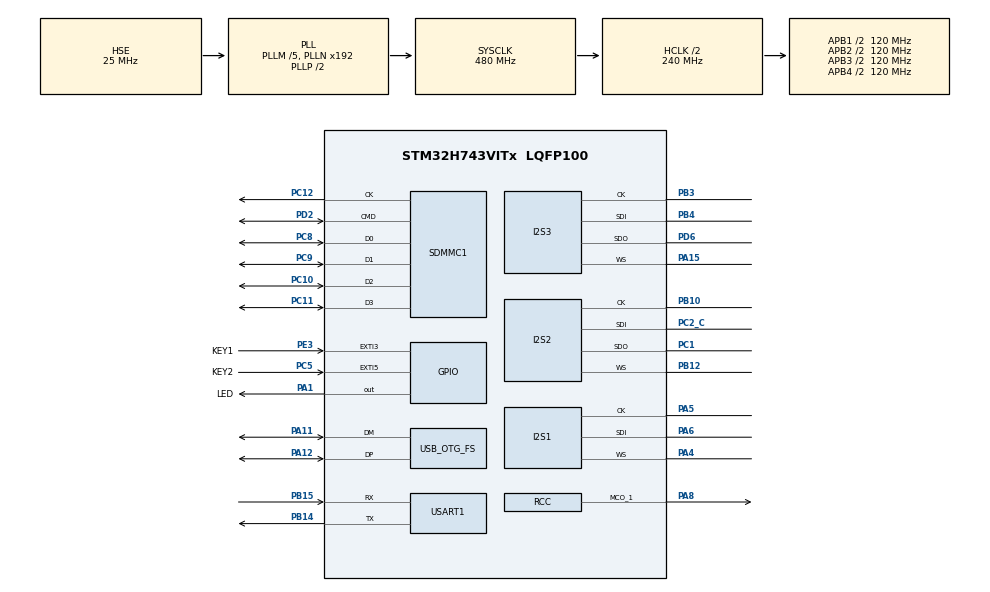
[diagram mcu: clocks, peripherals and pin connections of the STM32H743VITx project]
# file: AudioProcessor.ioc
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CORTEX_M7.default_mode_Activation=1
Dma.Request0=SPI1_RX
Dma.SPI1_RX.0.Direction=DMA_PERIPH_TO_MEMORY
Dma.SPI1_RX.0.EventEnable=DISABLE
Dma.SPI1_RX.0.FIFOMode=DMA_FIFOMODE_DISABLE
Dma.SPI1_RX.0.Instance=DMA1_Stream0
Dma.SPI1_RX.0.MemDataAlignment=DMA_MDATAALIGN_WORD
Dma.SPI1_RX.0.MemInc=DMA_MINC_ENABLE
Dma.SPI1_RX.0.Mode=DMA_CIRCULAR
Dma.SPI1_RX.0.PeriphDataAlignment=DMA_PDATAALIGN_WORD
Dma.SPI1_RX.0.PeriphInc=DMA_PINC_DISABLE
Dma.SPI1_RX.0.Polarity=HAL_DMAMUX_REQ_GEN_RISING
Dma.SPI1_RX.0.Priority=DMA_PRIORITY_VERY_HIGH
Dma.SPI1_RX.0.RequestNumber=1
Dma.SPI1_RX.0.SignalID=NONE
Dma.SPI1_RX.0.SyncEnable=DISABLE
Dma.SPI1_RX.0.SyncPolarity=HAL_DMAMUX_SYNC_NO_EVENT
Dma.SPI1_RX.0.SyncRequestNumber=1
Dma.SPI1_RX.0.SyncSignalID=NONE
FATFS._CODE_PAGE=936
FATFS._FS_EXFAT=1
FATFS._USE_LFN=3
I2S1.AudioFreq=I2S_AUDIOFREQ_16K
I2S1.DataFormat=I2S_DATAFORMAT_24B
I2S1.ErrorAudioFreq=-0.79 %
I2S1.Instance=SPI$Index
I2S1.RealAudioFreq=15.873 KHz
I2S2.AudioFreq=I2S_AUDIOFREQ_48K
I2S2.DataFormat=I2S_DATAFORMAT_24B
I2S2.ErrorAudioFreq=-0.79 %
I2S2.Instance=SPI$Index
I2S2.RealAudioFreq=47.619 KHz
I2S3.AudioFreq=I2S_AUDIOFREQ_48K
I2S3.DataFormat=I2S_DATAFORMAT_24B
I2S3.ErrorAudioFreq=-0.79 %
I2S3.Instance=SPI$Index
I2S3.RealAudioFreq=47.619 KHz
Mcu.Family=STM32H7
Mcu.Name=STM32H743VITx
Mcu.Package=LQFP100
NVIC.DMA1_Stream0_IRQn=true\:0\:0\:false\:false\:true\:false\:true\:true
NVIC.OTG_FS_IRQn=true\:0\:0\:false\:false\:true\:false\:true\:true
NVIC.PriorityGroup=NVIC_PRIORITYGROUP_4
NVIC.SPI1_IRQn=true\:0\:0\:false\:false\:true\:true\:true\:true
NVIC.USART1_IRQn=true\:0\:0\:false\:false\:true\:true\:true\:true
PA1.GPIO_Label=LED
PA1.PinState=GPIO_PIN_SET
PA1.Signal=GPIO_Output
PA11.GPIO_Speed=GPIO_SPEED_FREQ_HIGH
PA11.Mode=Device_Only
PA11.Signal=USB_OTG_FS_DM
PA12.GPIO_Speed=GPIO_SPEED_FREQ_HIGH
PA12.Mode=Device_Only
PA12.Signal=USB_OTG_FS_DP
PA13\ (JTMS/SWDIO).Mode=Serial_Wire
PA13\ (JTMS/SWDIO).Signal=DEBUG_JTMS-SWDIO
PA14\ (JTCK/SWCLK).Mode=Serial_Wire
PA14\ (JTCK/SWCLK).Signal=DEBUG_JTCK-SWCLK
PA15\ (JTDI).Mode=Full_Duplex_Master
PA15\ (JTDI).Signal=I2S3_WS
PA4.GPIO_Speed=GPIO_SPEED_FREQ_HIGH
PA4.Mode=Half_Duplex_Master_Rx
PA4.Signal=I2S1_WS
PA5.GPIO_Speed=GPIO_SPEED_FREQ_HIGH
PA5.Mode=Half_Duplex_Master_Rx
PA5.Signal=I2S1_CK
PA6.GPIO_PuPd=GPIO_PULLDOWN
PA6.GPIO_Speed=GPIO_SPEED_FREQ_HIGH
PA6.Mode=Half_Duplex_Master_Rx
PA6.Signal=I2S1_SDI
PA8.Mode=Clock-out-1
PA8.Signal=RCC_MCO_1
PB10.GPIO_Speed=GPIO_SPEED_FREQ_HIGH
PB10.Mode=Full_Duplex_Master
PB10.Signal=I2S2_CK
PB12.GPIO_Speed=GPIO_SPEED_FREQ_HIGH
PB12.Mode=Full_Duplex_Master
PB12.Signal=I2S2_WS
PB14.GPIO_Speed=GPIO_SPEED_FREQ_MEDIUM
PB14.Mode=Asynchronous
PB14.Signal=USART1_TX
PB15.GPIO_Speed=GPIO_SPEED_FREQ_MEDIUM
PB15.Mode=Asynchronous
PB15.Signal=USART1_RX
PB3\ (JTDO/TRACESWO).Mode=Full_Duplex_Master
PB3\ (JTDO/TRACESWO).Signal=I2S3_CK
PB4\ (NJTRST).Mode=Full_Duplex_Master
PB4\ (NJTRST).Signal=I2S3_SDI
PC1.GPIO_Speed=GPIO_SPEED_FREQ_HIGH
PC1.Mode=Full_Duplex_Master
PC1.Signal=I2S2_SDO
PC10.Mode=SD_4_bits_Wide_bus
PC10.Signal=SDMMC1_D2
PC11.Mode=SD_4_bits_Wide_bus
PC11.Signal=SDMMC1_D3
PC12.Mode=SD_4_bits_Wide_bus
PC12.Signal=SDMMC1_CK
PC14-OSC32_IN\ (OSC32_IN).Mode=LSE-External-Oscillator
PC14-OSC32_IN\ (OSC32_IN).Signal=RCC_OSC32_IN
PC15-OSC32_OUT\ (OSC32_OUT).Mode=LSE-External-Oscillator
PC15-OSC32_OUT\ (OSC32_OUT).Signal=RCC_OSC32_OUT
PC2_C.GPIO_Speed=GPIO_SPEED_FREQ_HIGH
PC2_C.Mode=Full_Duplex_Master
PC2_C.Signal=I2S2_SDI
PC5.GPIO_Label=KEY2
PC5.GPIO_ModeDefaultEXTI=GPIO_MODE_IT_FALLING
PC5.GPIO_PuPd=GPIO_PULLUP
PC5.Signal=GPXTI5
PC8.Mode=SD_4_bits_Wide_bus
PC8.Signal=SDMMC1_D0
PC9.Mode=SD_4_bits_Wide_bus
PC9.Signal=SDMMC1_D1
PD2.Mode=SD_4_bits_Wide_bus
PD2.Signal=SDMMC1_CMD
PD6.Mode=Full_Duplex_Master
PD6.Signal=I2S3_SDO
PE3.GPIO_Label=KEY1
PE3.GPIO_ModeDefaultEXTI=GPIO_MODE_IT_FALLING
PE3.GPIO_PuPd=GPIO_PULLUP
PE3.Signal=GPXTI3
PH0-OSC_IN\ (PH0).Mode=HSE-External-Oscillator
PH0-OSC_IN\ (PH0).Signal=RCC_OSC_IN
PH1-OSC_OUT\ (PH1).Mode=HSE-External-Oscillator
PH1-OSC_OUT\ (PH1).Signal=RCC_OSC_OUT
ProjectManager.HeapSize=0x1000
ProjectManager.StackSize=0x1000
ProjectManager.TargetToolchain=MDK-ARM V5.32
RCC.ADCFreq_Value=480000000
RCC.APB1Freq_Value=120000000
RCC.APB2Freq_Value=120000000
RCC.APB3Freq_Value=120000000
RCC.APB4Freq_Value=120000000
RCC.CortexFreq_Value=480000000
RCC.D1PPRE=RCC_APB3_DIV2
RCC.D2PPRE1=RCC_APB1_DIV2
RCC.D2PPRE2=RCC_APB2_DIV2
RCC.D3PPRE=RCC_APB4_DIV2
RCC.DIVM1=5
RCC.DIVM2=5
RCC.DIVN1=192
RCC.DIVN2=192
RCC.DIVQ1=60
RCC.DIVR2=20
RCC.HCLKFreq_Value=240000000
RCC.HPRE=RCC_HCLK_DIV2
RCC.PLL2FRACN=0
RCC.PLL3FRACN=0
RCC.PLLFRACN=0
RCC.PLLSourceVirtual=RCC_PLLSOURCE_HSE
RCC.RCC_MCO1Source=RCC_MCO1SOURCE_PLL1QCLK
RCC.RCC_MCODiv1=RCC_MCODIV_8
RCC.SDMMC1CLockSelection=RCC_SDMMCCLKSOURCE_PLL2
RCC.SPI123CLockSelection=RCC_SPI123CLKSOURCE_CLKP
RCC.SYSCLKFreq_VALUE=480000000
RCC.SYSCLKSource=RCC_SYSCLKSOURCE_PLLCLK
RCC.USBCLockSelection=RCC_USBCLKSOURCE_HSI48
RCC.USBFreq_Value=48000000
SDMMC1.ClockDiv=4
USART1.VirtualMode-Asynchronous=VM_ASYNC
USB_DEVICE.CLASS_NAME_FS=CDC
USB_DEVICE.MANUFACTURER_STRING-CDC_FS=Skyler
USB_DEVICE.PRODUCT_STRING_CDC_FS=DebugSerial
USB_DEVICE.VirtualMode-CDC_FS=Cdc
USB_DEVICE.VirtualModeFS=Cdc_FS
USB_OTG_FS.VirtualMode=Device_Only
VP_FATFS_VS_SDIO.Mode=SDIO
VP_MEMORYMAP_VS_MEMORYMAP.Mode=CurAppReg
VP_USB_DEVICE_VS_USB_DEVICE_CDC_FS.Mode=CDC_FS
board=custom

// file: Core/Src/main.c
/* USER CODE BEGIN Header */
/**
  ******************************************************************************
  * @file           : main.c
  * @brief          : Main program body
  ******************************************************************************
  * @attention
  *
  * Copyright (c) 2024 STMicroelectronics.
  * All rights reserved.
  *
  * This software is licensed under terms that can be found in the LICENSE file
  * in the root directory of this software component.
  * If no LICENSE file comes with this software, it is provided AS-IS.
  *
  ******************************************************************************
  */
/* USER CODE END Header */
#include "main.h"
#include "dma.h"
#include "fatfs.h"
#include "i2s.h"
#include "memorymap.h"
#include "sdmmc.h"
#include "usart.h"
#include "usb_device.h"
#include "gpio.h"

/* USER CODE BEGIN Includes */
#include "arm_math.h"
#include "TLV320AIC.h"
#include "uart_screen.h"
#include "usb_debug.h"
#include "mic.h"
#include "wav_file.h"
#include "audio_process.h"
/* USER CODE END Includes */

/* USER CODE BEGIN PV */
uint32_t counter = 0;
float disRec[600] = {0};
/* USER CODE END PV */

void SystemClock_Config(void);
static void MPU_Config(void);

int main(void)
{

  /* MPU Configuration--------------------------------------------------------*/
  MPU_Config();

  /* MCU Configuration--------------------------------------------------------*/

  /* Reset of all peripherals, Initializes the Flash interface and the Systick. */
  HAL_Init();

  /* Configure the system clock */
  SystemClock_Config();

  /* Initialize all configured peripherals */
  MX_GPIO_Init();
  MX_DMA_Init();
  MX_I2S1_Init();
  MX_I2S2_Init();
  MX_USB_DEVICE_Init();
  MX_USART1_UART_Init();
  MX_I2S3_Init();
  MX_SDMMC1_SD_Init();
  MX_FATFS_Init();
  /* USER CODE BEGIN 2 */
  HAL_Delay(5000);
  File_Init();
  File_Wav_Create(&wavFile, 1240);
//  USB_Send_Command("FatFS init %s\n", (res == FR_OK ? "success" : "failed"));

  Screen_Init();
  Mic_Init(&mics[0], &hi2s1, 22000, 24);
  USB_Send_Command("System init success!\n");
  Mic_Sample_Start(&mics[0]);

  /* USER CODE END 2 */

  /* Infinite loop */
  while (1)
  {

    /* USER CODE BEGIN 3 */
	  if (mics[0].isDataValid)
	  {
		  mics[0].isDataValid = 0;
		  Audio_Get_From_Mic(&mics[0], audio_buffer[0], audio_buffer[1], audio_buffer_mixed);
		  disRec[counter] = Audio_Calc_Distance(audio_buffer[0], audio_buffer[1]);
		  File_Wav_Write_Data_And_Sync(&wavFile, audio_buffer_mixed, sizeof(audio_buffer_mixed));
		  counter++;
		  if (counter == 500)
		  {
			  HAL_I2S_DMAStop(&hi2s1);
			  File_Wav_Write_Head_And_Close(&wavFile);
			  while (1)
			  {

			  }
		  }
	  }
  }
  /* USER CODE END 3 */
}

void SystemClock_Config(void)
{
  RCC_OscInitTypeDef RCC_OscInitStruct = {0};
  RCC_ClkInitTypeDef RCC_ClkInitStruct = {0};

  /** Supply configuration update enable
  */
  HAL_PWREx_ConfigSupply(PWR_LDO_SUPPLY);

  /** Configure the main internal regulator output voltage
  */
  __HAL_PWR_VOLTAGESCALING_CONFIG(PWR_REGULATOR_VOLTAGE_SCALE1);

  while(!__HAL_PWR_GET_FLAG(PWR_FLAG_VOSRDY)) {}

  __HAL_RCC_SYSCFG_CLK_ENABLE();
  __HAL_PWR_VOLTAGESCALING_CONFIG(PWR_REGULATOR_VOLTAGE_SCALE0);

  while(!__HAL_PWR_GET_FLAG(PWR_FLAG_VOSRDY)) {}

  /** Initializes the RCC Oscillators according to the specified parameters
  * in the RCC_OscInitTypeDef structure.
  */
  RCC_OscInitStruct.OscillatorType = RCC_OSCILLATORTYPE_HSI48|RCC_OSCILLATORTYPE_HSE;
  RCC_OscInitStruct.HSEState = RCC_HSE_ON;
  RCC_OscInitStruct.HSI48State = RCC_HSI48_ON;
  RCC_OscInitStruct.PLL.PLLState = RCC_PLL_ON;
  RCC_OscInitStruct.PLL.PLLSource = RCC_PLLSOURCE_HSE;
  RCC_OscInitStruct.PLL.PLLM = 5;
  RCC_OscInitStruct.PLL.PLLN = 192;
  RCC_OscInitStruct.PLL.PLLP = 2;
  RCC_OscInitStruct.PLL.PLLQ = 60;
  RCC_OscInitStruct.PLL.PLLR = 2;
  RCC_OscInitStruct.PLL.PLLRGE = RCC_PLL1VCIRANGE_2;
  RCC_OscInitStruct.PLL.PLLVCOSEL = RCC_PLL1VCOWIDE;
  RCC_OscInitStruct.PLL.PLLFRACN = 0;
  if (HAL_RCC_OscConfig(&RCC_OscInitStruct) != HAL_OK)
  {
    Error_Handler();
  }

  /** Initializes the CPU, AHB and APB buses clocks
  */
  RCC_ClkInitStruct.ClockType = RCC_CLOCKTYPE_HCLK|RCC_CLOCKTYPE_SYSCLK
                              |RCC_CLOCKTYPE_PCLK1|RCC_CLOCKTYPE_PCLK2
                              |RCC_CLOCKTYPE_D3PCLK1|RCC_CLOCKTYPE_D1PCLK1;
  RCC_ClkInitStruct.SYSCLKSource = RCC_SYSCLKSOURCE_PLLCLK;
  RCC_ClkInitStruct.SYSCLKDivider = RCC_SYSCLK_DIV1;
  RCC_ClkInitStruct.AHBCLKDivider = RCC_HCLK_DIV2;
  RCC_ClkInitStruct.APB3CLKDivider = RCC_APB3_DIV2;
  RCC_ClkInitStruct.APB1CLKDivider = RCC_APB1_DIV2;
  RCC_ClkInitStruct.APB2CLKDivider = RCC_APB2_DIV2;
  RCC_ClkInitStruct.APB4CLKDivider = RCC_APB4_DIV2;

  if (HAL_RCC_ClockConfig(&RCC_ClkInitStruct, FLASH_LATENCY_4) != HAL_OK)
  {
    Error_Handler();
  }
  __HAL_RCC_PLLCLKOUT_ENABLE(RCC_PLL1_DIVQ);
  HAL_RCC_MCOConfig(RCC_MCO1, RCC_MCO1SOURCE_PLL1QCLK, RCC_MCODIV_8);
}

 /* MPU Configuration */

void MPU_Config(void)
{
  MPU_Region_InitTypeDef MPU_InitStruct = {0};

  /* Disables the MPU */
  HAL_MPU_Disable();

  /** Initializes and configures the Region and the memory to be protected
  */
  MPU_InitStruct.Enable = MPU_REGION_ENABLE;
  MPU_InitStruct.Number = MPU_REGION_NUMBER0;
  MPU_InitStruct.BaseAddress = 0x0;
  MPU_InitStruct.Size = MPU_REGION_SIZE_4GB;
  MPU_InitStruct.SubRegionDisable = 0x87;
  MPU_InitStruct.TypeExtField = MPU_TEX_LEVEL0;
  MPU_InitStruct.AccessPermission = MPU_REGION_NO_ACCESS;
  MPU_InitStruct.DisableExec = MPU_INSTRUCTION_ACCESS_DISABLE;
  MPU_InitStruct.IsShareable = MPU_ACCESS_SHAREABLE;
  MPU_InitStruct.IsCacheable = MPU_ACCESS_NOT_CACHEABLE;
  MPU_InitStruct.IsBufferable = MPU_ACCESS_NOT_BUFFERABLE;

  HAL_MPU_ConfigRegion(&MPU_InitStruct);
  /* Enables the MPU */
  HAL_MPU_Enable(MPU_PRIVILEGED_DEFAULT);

}

void Error_Handler(void)
{
  __disable_irq();
  while (1)
  {
  }
}
